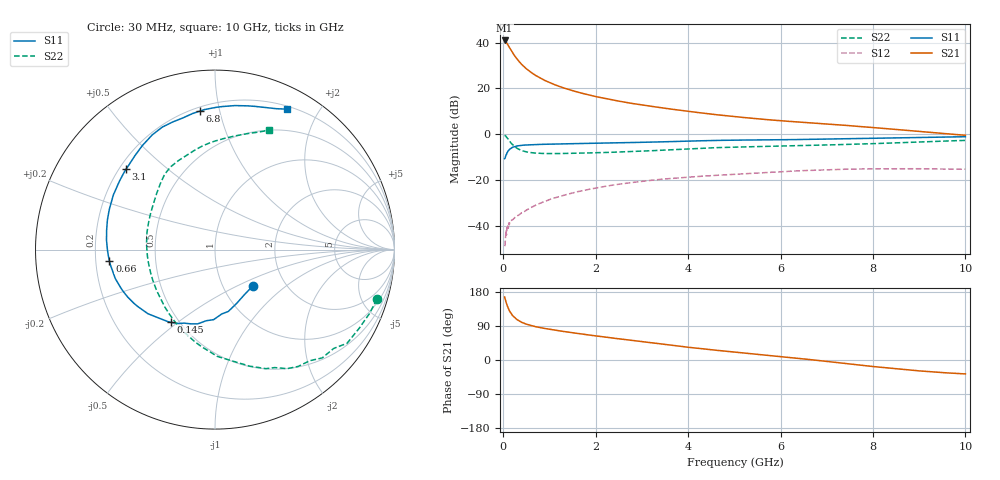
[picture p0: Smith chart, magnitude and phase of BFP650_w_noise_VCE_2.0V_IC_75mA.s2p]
! Infineon Technologies  Discrete & RF Semiconductors
! BFP650
! VCE =  2.0 V,  IC =  75 mA
! Common Emitter S-Parameters:  Jan 2016
# GHz  S  MA  R  50
!  f  S11  S21  S12  S22
! GHz  MAG  ANG  MAG  ANG  MAG  ANG  MAG  ANG
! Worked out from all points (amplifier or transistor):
!   229 points, 30 MHz to 10 GHz, reference 50 ohm
!   highest |S21| = 40.9 dB at 30 MHz (marker M1)
!   |S21| within 3 dB of that: start of sweep to 132.8 MHz
!   unconditionally stable (mu >= 1): 1.486 GHz to end of sweep
!   at 280 MHz: K = 0.59, MSG = 34.6 dB, |S12| = -36.0 dB
!   at 1.78 GHz: K = 1.02, MAG = 20.2 dB, |S12| = -24.4 dB
!   at 10 GHz: K = 1.03, MAG = 6.4 dB, |S12| = -15.3 dB
!   lowest NFmin = 1.21 dB at 450 MHz
!   S11 on the Smith chart (normalised r, x): 30 MHz: 1.37, -0.61; 145 MHz: 0.45, -0.47; 660 MHz: 0.26, -0.05; 3.1 GHz: 0.23, +0.37; 6.8 GHz: 0.22, +0.87; 10 GHz: 0.23, +1.62
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0.03  0.2922 -44.2  111.1 166.3  0.0036 65.7  0.9438 -17.0
0.04  0.2998 -56.8  109.8 161.6  0.0039 85.5  0.9316 -22.5
0.05  0.3236 -68.3  106.2 157.0  0.0055 62.3  0.915 -28.7
0.06  0.3526 -77.9  104.4 153.3  0.008 56.8  0.902 -35.4
0.08  0.3903 -91.1  97.33 145.5  0.0092 72.5  0.8491 -45.3
0.11  0.4342 -107.6  86.59 136.1  0.0089 63.4  0.7755 -58.8
0.145  0.4742 -121.5  74.9 127.6  0.0124 56.7  0.6879 -71.6
0.2  0.5168 -136.2  60.48 117.5  0.0135 57.9  0.5955 -88.7
0.26  0.5417 -146.4  49.27 110.3  0.0154 58.1  0.5259 -102.3
0.3  0.5539 -151.6  43.4 106.4  0.0164 56.4  0.4914 -110.3
0.36  0.5658 -157.4  36.79 102.0  0.0179 55.0  0.4577 -119.7
0.45  0.5787 -164.0  29.75 96.8  0.0201 58.2  0.4246 -131.3
0.66  0.5918 -174.1  20.46 89.2  0.0269 58.5  0.3903 -149.8
0.9  0.6013 178.2  14.88 83.2  0.0339 60.0  0.3785 -164.0
1.1  0.6082 173.1  12.16 79.2  0.0404 59.1  0.378 -172.4
1.7  0.6273 160.7  7.839 68.6  0.0581 55.3  0.3865 169.8
3.1  0.668 137.8  4.203 47.1  0.0962 40.9  0.431 142.1
3.4  0.6793 133.3  3.801 42.6  0.1033 37.3  0.4456 137.6
5.1  0.7438 112.3  2.367 19.7  0.1349 20.1  0.5256 116.9
6.8  0.776 96.3  1.726 -1.0  0.1647 2.8  0.5758 98.4
8.4  0.8218 77.0  1.292 -22.0  0.1764 -15.0  0.6418 80.3
10  0.8805 62.7  0.948 -36.7  0.172 -27.7  0.732 65.7
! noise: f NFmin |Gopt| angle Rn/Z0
0.45  1.21  0.5  -171  0.06
0.9  1.23  0.51  -165  0.06
1.9  1.36  0.53  -151  0.08
2.4  1.44  0.52  -141  0.1
3.5  1.65  0.54  -118  0.18
